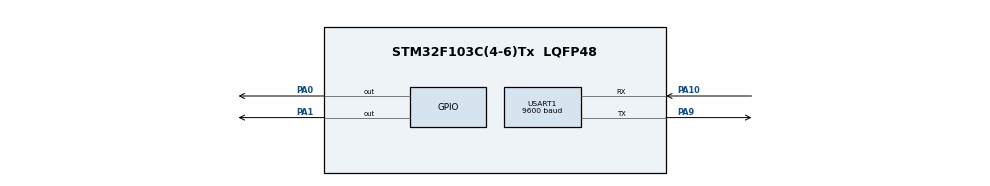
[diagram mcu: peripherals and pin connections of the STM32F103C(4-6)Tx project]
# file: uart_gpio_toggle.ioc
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Mcu.Family=STM32F1
Mcu.Name=STM32F103C(4-6)Tx
Mcu.Package=LQFP48
NVIC.PriorityGroup=NVIC_PRIORITYGROUP_4
PA0-WKUP.Signal=GPIO_Output
PA1.Signal=GPIO_Output
PA10.Mode=Asynchronous
PA10.Signal=USART1_RX
PA9.Mode=Asynchronous
PA9.Signal=USART1_TX
ProjectManager.HeapSize=0x200
ProjectManager.StackSize=0x400
ProjectManager.TargetToolchain=STM32CubeIDE
RCC.APB1Freq_Value=8000000
RCC.APB2Freq_Value=8000000
USART1.BaudRate=9600
USART1.VirtualMode=VM_ASYNC
VP_SYS_VS_ND.Mode=No_Debug
board=custom

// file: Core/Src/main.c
/* USER CODE BEGIN Header */
/**
  ******************************************************************************
  * @file           : main.c
  * @brief          : UART-Controlled LED System for STM32F103C6
  * @description    : Control 2 LEDs using two-digit UART commands
  *                   Command format: "XY" where X controls LED1, Y controls LED2
  *                   0 = LOW (OFF), 1 = HIGH (ON), 2 = TOGGLE
  * @hardware       : LED1 -> PA0, LED2 -> PA1
  *                   UART1 -> PA9 (TX), PA10 (RX)
  ******************************************************************************
  */
/* USER CODE END Header */

#include "main.h"
#include <string.h>  // For memset() and strlen()

UART_HandleTypeDef huart1;  // UART1 handle structure

/* USER CODE BEGIN PV */
uint8_t rx_buffer[2];  // Buffer to store 2 received bytes from UART
/* USER CODE END PV */

void SystemClock_Config(void);
static void MX_GPIO_Init(void);
static void MX_USART1_UART_Init(void);

/* USER CODE BEGIN PFP */
void LED_Control(uint8_t code);        // Function to control LED states based on code
void UART_SendString(char *str);       // Helper function to send strings via UART
/* USER CODE END PFP */

int main(void)
{
  /* USER CODE BEGIN 1 */
  // Variable declarations can go here if needed
  /* USER CODE END 1 */

  /* MCU Configuration--------------------------------------------------------*/

  /* Reset of all peripherals, Initializes the Flash interface and the Systick. */
  HAL_Init();

  /* Configure the system clock */
  SystemClock_Config();

  /* Initialize all configured peripherals */
  MX_GPIO_Init();        // Initialize GPIO pins (PA0 and PA1 as outputs)
  MX_USART1_UART_Init(); // Initialize UART1 (9600 baud, 8N1)

  /* USER CODE BEGIN 2 */

  // Send welcome message to terminal when system starts
  UART_SendString("\r\n");
  UART_SendString("========================================\r\n");
  UART_SendString("  STM32F103C6 UART LED Control System  \r\n");
  UART_SendString("========================================\r\n");
  UART_SendString("\r\n");
  UART_SendString("Command Format: Two digits (e.g., '11')\r\n");
  UART_SendString("  First digit  -> LED1 (PA0)\r\n");
  UART_SendString("  Second digit -> LED2 (PA1)\r\n");
  UART_SendString("\r\n");
  UART_SendString("Commands:\r\n");
  UART_SendString("  0 = Turn LED OFF\r\n");
  UART_SendString("  1 = Turn LED ON\r\n");
  UART_SendString("  2 = TOGGLE LED\r\n");
  UART_SendString("\r\n");
  UART_SendString("Examples:\r\n");
  UART_SendString("  '11' = Both LEDs ON\r\n");
  UART_SendString("  '00' = Both LEDs OFF\r\n");
  UART_SendString("  '10' = LED1 ON, LED2 OFF\r\n");
  UART_SendString("  '21' = LED1 TOGGLE, LED2 ON\r\n");
  UART_SendString("========================================\r\n");
  UART_SendString("System Ready! Waiting for commands...\r\n\r\n");

  /* USER CODE END 2 */

  /* Infinite loop */
  /* USER CODE BEGIN WHILE */
  while (1)
  {
    // Clear the receive buffer to prevent stale data from previous reads
    memset(rx_buffer, 0, sizeof(rx_buffer));

    // Wait to receive exactly 2 bytes from UART
    // HAL_MAX_DELAY means block indefinitely until 2 bytes arrive
    if(HAL_UART_Receive(&huart1, rx_buffer, 2, HAL_MAX_DELAY) == HAL_OK)
    {
      // Validate that both received characters are valid ('0', '1', or '2')
      if(rx_buffer[0] >= '0' && rx_buffer[0] <= '2' &&
         rx_buffer[1] >= '0' && rx_buffer[1] <= '2')
      {
        // Convert ASCII characters to numeric code
        // Example: "21" becomes (2)*10 + (1) = 21
        // '0' has ASCII value 48, so '0'-'0'=0, '1'-'0'=1, '2'-'0'=2
        uint8_t code = (rx_buffer[0] - '0') * 10 + (rx_buffer[1] - '0');

        // Execute LED control based on the received code
        LED_Control(code);

        // Send confirmation message back to terminal
        UART_SendString("[OK] Command: ");
        HAL_UART_Transmit(&huart1, rx_buffer, 2, HAL_MAX_DELAY);  // Echo the command
        UART_SendString(" executed successfully\r\n");
      }
      else
      {
        // Handle invalid input (characters other than 0, 1, or 2)
        UART_SendString("[ERROR] Invalid command: ");
        HAL_UART_Transmit(&huart1, rx_buffer, 2, HAL_MAX_DELAY);
        UART_SendString("\r\n");
        UART_SendString("        Please use only digits 0, 1, or 2\r\n");
      }
    }

    /* USER CODE END WHILE */

  }
}

/* USER CODE BEGIN 4 */

/**
  * @brief  Controls LED states based on received two-digit code
  * @param  code: Numeric code where:
  *               - Tens digit (code/10) controls LED1
  *               - Ones digit (code%10) controls LED2
  *               - 0 = Turn LED OFF
  *               - 1 = Turn LED ON
  *               - 2 = Toggle LED state
  * @retval None
  * @example LED_Control(21) -> LED1 toggles, LED2 turns on
  */
void LED_Control(uint8_t code)
{
  // Extract individual LED actions from the combined code
  uint8_t led1_action = code / 10;  // Tens digit controls LED1
  uint8_t led2_action = code % 10;  // Ones digit controls LED2

  // Control LED1 (connected to GPIOA Pin 0)
  switch (led1_action)
  {
    case 0:
      // Turn LED1 OFF by setting pin to LOW (0V)
      HAL_GPIO_WritePin(GPIOA, GPIO_PIN_0, GPIO_PIN_RESET);
      break;

    case 1:
      // Turn LED1 ON by setting pin to HIGH (3.3V)
      HAL_GPIO_WritePin(GPIOA, GPIO_PIN_0, GPIO_PIN_SET);
      break;

    case 2:
      // Toggle LED1 state (if ON->OFF, if OFF->ON)
      HAL_GPIO_TogglePin(GPIOA, GPIO_PIN_0);
      break;

    default:
      // Should never reach here due to input validation
      break;
  }

  // Control LED2 (connected to GPIOA Pin 1)
  switch (led2_action)
  {
    case 0:
      // Turn LED2 OFF by setting pin to LOW (0V)
      HAL_GPIO_WritePin(GPIOA, GPIO_PIN_1, GPIO_PIN_RESET);
      break;

    case 1:
      // Turn LED2 ON by setting pin to HIGH (3.3V)
      HAL_GPIO_WritePin(GPIOA, GPIO_PIN_1, GPIO_PIN_SET);
      break;

    case 2:
      // Toggle LED2 state (if ON->OFF, if OFF->ON)
      HAL_GPIO_TogglePin(GPIOA, GPIO_PIN_1);
      break;

    default:
      // Should never reach here due to input validation
      break;
  }
}

/**
  * @brief  Sends a null-terminated string via UART
  * @param  str: Pointer to the string to transmit
  * @retval None
  * @note   This is a wrapper function to simplify sending strings
  */
void UART_SendString(char *str)
{
  // Transmit the entire string over UART1
  // strlen(str) calculates the number of characters in the string
  // HAL_MAX_DELAY means wait indefinitely until transmission completes
  HAL_UART_Transmit(&huart1, (uint8_t*)str, strlen(str), HAL_MAX_DELAY);
}

/* USER CODE END 4 */

void SystemClock_Config(void)
{
  RCC_OscInitTypeDef RCC_OscInitStruct = {0};
  RCC_ClkInitTypeDef RCC_ClkInitStruct = {0};

  /** Initializes the RCC Oscillators according to the specified parameters
  * in the RCC_OscInitTypeDef structure.
  */
  RCC_OscInitStruct.OscillatorType = RCC_OSCILLATORTYPE_HSI;  // Use internal oscillator
  RCC_OscInitStruct.HSIState = RCC_HSI_ON;                     // Enable HSI
  RCC_OscInitStruct.HSICalibrationValue = RCC_HSICALIBRATION_DEFAULT;
  RCC_OscInitStruct.PLL.PLLState = RCC_PLL_NONE;               // PLL not used
  if (HAL_RCC_OscConfig(&RCC_OscInitStruct) != HAL_OK)
  {
    Error_Handler();
  }

  /** Initializes the CPU, AHB and APB buses clocks
  */
  RCC_ClkInitStruct.ClockType = RCC_CLOCKTYPE_HCLK|RCC_CLOCKTYPE_SYSCLK
                              |RCC_CLOCKTYPE_PCLK1|RCC_CLOCKTYPE_PCLK2;
  RCC_ClkInitStruct.SYSCLKSource = RCC_SYSCLKSOURCE_HSI;       // System clock from HSI
  RCC_ClkInitStruct.AHBCLKDivider = RCC_SYSCLK_DIV1;           // No division
  RCC_ClkInitStruct.APB1CLKDivider = RCC_HCLK_DIV1;            // No division
  RCC_ClkInitStruct.APB2CLKDivider = RCC_HCLK_DIV1;            // No division

  if (HAL_RCC_ClockConfig(&RCC_ClkInitStruct, FLASH_LATENCY_0) != HAL_OK)
  {
    Error_Handler();
  }
}

static void MX_USART1_UART_Init(void)
{

  huart1.Instance = USART1;
  huart1.Init.BaudRate = 9600;                      // Communication speed: 9600 bits per second
  huart1.Init.WordLength = UART_WORDLENGTH_8B;      // 8 data bits per frame
  huart1.Init.StopBits = UART_STOPBITS_1;           // 1 stop bit
  huart1.Init.Parity = UART_PARITY_NONE;            // No parity checking
  huart1.Init.Mode = UART_MODE_TX_RX;               // Enable both transmit and receive
  huart1.Init.HwFlowCtl = UART_HWCONTROL_NONE;      // No hardware flow control (no RTS/CTS)
  huart1.Init.OverSampling = UART_OVERSAMPLING_16;  // 16x oversampling for accuracy

  if (HAL_UART_Init(&huart1) != HAL_OK)
  {
    Error_Handler();
  }

}

static void MX_GPIO_Init(void)
{
  GPIO_InitTypeDef GPIO_InitStruct = {0};

  /* GPIO Ports Clock Enable */
  __HAL_RCC_GPIOA_CLK_ENABLE();  // Enable clock for GPIOA peripheral

  /* Configure GPIO pin Output Level */
  // Initialize both LED pins to LOW (OFF) state at startup
  HAL_GPIO_WritePin(GPIOA, GPIO_PIN_0|GPIO_PIN_1, GPIO_PIN_RESET);

  /* Configure GPIO pins : PA0 PA1 (LED1 and LED2) */
  GPIO_InitStruct.Pin = GPIO_PIN_0|GPIO_PIN_1;      // Select pins PA0 and PA1
  GPIO_InitStruct.Mode = GPIO_MODE_OUTPUT_PP;       // Push-pull output mode
  GPIO_InitStruct.Pull = GPIO_NOPULL;               // No pull-up or pull-down resistor
  GPIO_InitStruct.Speed = GPIO_SPEED_FREQ_LOW;      // Low speed is sufficient for LED control
  HAL_GPIO_Init(GPIOA, &GPIO_InitStruct);           // Apply configuration to GPIOA
}

void Error_Handler(void)
{
  /* USER CODE BEGIN Error_Handler_Debug */
  /* User can add custom error handling code here */
  __disable_irq();  // Disable all interrupts
  while (1)
  {
    // Stay in infinite loop to indicate error state
    // In production, you might want to blink an LED rapidly here
    // to visually indicate an error has occurred
  }
  /* USER CODE END Error_Handler_Debug */
}

#ifdef  USE_FULL_ASSERT
/**
  * @brief  Reports the name of the source file and the source line number
  *         where the assert_param error has occurred.
  * @param  file: pointer to the source file name
  * @param  line: assert_param error line source number
  * @retval None
  */
void assert_failed(uint8_t *file, uint32_t line)
{
  /* USER CODE BEGIN 6 */
  /* User can add their own implementation to report the file name and line number,
     ex: printf("Wrong parameters value: file %s on line %d\r\n", file, line) */
  /* USER CODE END 6 */
}
#endif /* USE_FULL_ASSERT */
